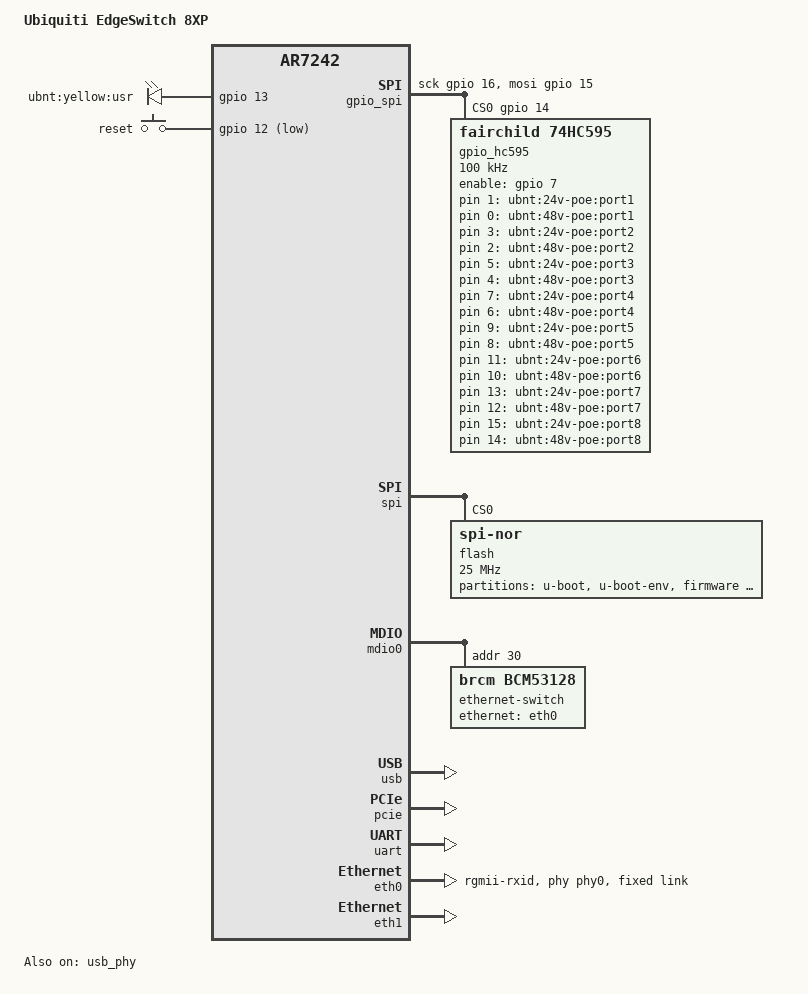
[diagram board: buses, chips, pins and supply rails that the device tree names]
// SPDX-License-Identifier: GPL-2.0-or-later OR MIT
/dts-v1/;

#include <dt-bindings/gpio/gpio.h>
#include <dt-bindings/input/input.h>

#include "ar7242.dtsi"

/ {
	compatible = "ubnt,edgeswitch-8xp", "qca,ar7242";
	model = "Ubiquiti EdgeSwitch 8XP";

	chosen {
		bootargs = "console=ttyS0,115200n8";
	};

	aliases {
		led-boot = &led_usr;
		led-failsafe = &led_usr;
		led-running = &led_usr;
		led-upgrade = &led_usr;
	};

	leds {
		compatible = "gpio-leds";

		led_usr: usr {
			label = "ubnt:yellow:usr";
			gpios = <&gpio 13 GPIO_ACTIVE_HIGH>;
		};
	};

	keys {
		compatible = "gpio-keys";

		reset {
			linux,code = <KEY_RESTART>;
			gpios = <&gpio 12 GPIO_ACTIVE_LOW>;
			debounce-interval = <60>;
		};
	};

	gpio_spi {
		compatible = "spi-gpio";
		#address-cells = <0x1>;
		ranges;

		sck-gpios = <&gpio 16 GPIO_ACTIVE_HIGH>;
		mosi-gpios = <&gpio 15 GPIO_ACTIVE_HIGH>;
		cs-gpios = <&gpio 14 GPIO_ACTIVE_HIGH>;
		num-chipselects = <1>;

		gpio_hc595: gpio_spi@0 {
			compatible = "fairchild,74hc595";
			reg = <0>;
			registers-number = <2>;
			spi-max-frequency = <100000>;
			enable-gpios = <&gpio 7 GPIO_ACTIVE_HIGH>;

			gpio-controller;
			#gpio-cells = <2>;
		};
	};
	
	gpio-export {
		compatible = "gpio-export";

		poe_24v_port1 {
			gpio-export,name = "ubnt:24v-poe:port1";
			gpio-export,output = <0>;
			gpios = <&gpio_hc595 1 GPIO_ACTIVE_HIGH>;
		};

		poe_48v_port1 {
			gpio-export,name = "ubnt:48v-poe:port1";
			gpio-export,output = <0>;
			gpios = <&gpio_hc595 0 GPIO_ACTIVE_HIGH>;
		};

		poe_24v_port2 {
			gpio-export,name = "ubnt:24v-poe:port2";
			gpio-export,output = <0>;
			gpios = <&gpio_hc595 3 GPIO_ACTIVE_HIGH>;
		};

		poe_48v_port2 {
			gpio-export,name = "ubnt:48v-poe:port2";
			gpio-export,output = <0>;
			gpios = <&gpio_hc595 2 GPIO_ACTIVE_HIGH>;
		};

		poe_24v_port3 {
			gpio-export,name = "ubnt:24v-poe:port3";
			gpio-export,output = <0>;
			gpios = <&gpio_hc595 5 GPIO_ACTIVE_HIGH>;
		};

		poe_48v_port3 {
			gpio-export,name = "ubnt:48v-poe:port3";
			gpio-export,output = <0>;
			gpios = <&gpio_hc595 4 GPIO_ACTIVE_HIGH>;
		};

		poe_24v_port4 {
			gpio-export,name = "ubnt:24v-poe:port4";
			gpio-export,output = <0>;
			gpios = <&gpio_hc595 7 GPIO_ACTIVE_HIGH>;
		};

		poe_48v_port4 {
			gpio-export,name = "ubnt:48v-poe:port4";
			gpio-export,output = <0>;
			gpios = <&gpio_hc595 6 GPIO_ACTIVE_HIGH>;
		};

		poe_24v_port5 {
			gpio-export,name = "ubnt:24v-poe:port5";
			gpio-export,output = <0>;
			gpios = <&gpio_hc595 9 GPIO_ACTIVE_HIGH>;
		};

		poe_48v_port5 {
			gpio-export,name = "ubnt:48v-poe:port5";
			gpio-export,output = <0>;
			gpios = <&gpio_hc595 8 GPIO_ACTIVE_HIGH>;
		};

		poe_24v_port6 {
			gpio-export,name = "ubnt:24v-poe:port6";
			gpio-export,output = <0>;
			gpios = <&gpio_hc595 11 GPIO_ACTIVE_HIGH>;
		};

		poe_48v_port6 {
			gpio-export,name = "ubnt:48v-poe:port6";
			gpio-export,output = <0>;
			gpios = <&gpio_hc595 10 GPIO_ACTIVE_HIGH>;
		};

		poe_24v_port7 {
			gpio-export,name = "ubnt:24v-poe:port7";
			gpio-export,output = <0>;
			gpios = <&gpio_hc595 13 GPIO_ACTIVE_HIGH>;
		};

		poe_48v_port7 {
			gpio-export,name = "ubnt:48v-poe:port7";
			gpio-export,output = <0>;
			gpios = <&gpio_hc595 12 GPIO_ACTIVE_HIGH>;
		};

		poe_24v_port8 {
			gpio-export,name = "ubnt:24v-poe:port8";
			gpio-export,output = <0>;
			gpios = <&gpio_hc595 15 GPIO_ACTIVE_HIGH>;
		};

		poe_48v_port8 {
			gpio-export,name = "ubnt:48v-poe:port8";
			gpio-export,output = <0>;
			gpios = <&gpio_hc595 14 GPIO_ACTIVE_HIGH>;
		};
	};
};

&spi {
	status = "okay";

	num-cs = <1>;

	flash@0 {
		compatible = "jedec,spi-nor";
		reg = <0>;
		spi-max-frequency = <25000000>;

		partitions {
			compatible = "fixed-partitions";
			#address-cells = <1>;
			#size-cells = <1>;

			partition@0 {
				reg = <0x000000 0x040000>;
				label = "u-boot";
				read-only;
			};

			partition@40000 {
				reg = <0x040000 0x010000>;
				label = "u-boot-env";
				read-only;
			};

			partition@50000 {
				compatible = "denx,uimage";
				reg = <0x050000 0x760000>;
				label = "firmware";
			};

			partition@7b0000 {
				reg = <0x7b0000 0x040000>;
				label = "cfg";
				read-only;
			};

			art: partition@7f0000 {
				reg = <0x7f0000 0x010000>;
				label = "art";
				read-only;
			};
		};
	};
};

&mdio0 {
	status = "okay";

	phy-mask = <0x10>;

	ethernet-switch@1e {
		compatible = "brcm,bcm53128";
		#address-cells = <1>;
		#size-cells = <0>;
		reg = <0x1e>;

		ports {
			port0@0 {
				reg = <0>;
				label = "lan1";
			};

			port1@1 {
				reg = <1>;
				label = "lan2";
			};

			port2@2 {
				reg = <2>;
				label = "lan3";
			};

			port3@3 {
				reg = <3>;
				label = "lan4";
			};

			port4@4 {
				reg = <4>;
				label = "lan5";
			};

			port5@5 {
				reg = <5>;
				label = "lan6";
			};

			port6@6 {
				reg = <6>;
				label = "lan7";
			};

			port7@7 {
				reg = <7>;
				label = "lan8";
			};

			phy0: port8@8 {
				reg = <8>;
				label = "cpu";
				ethernet = <&eth0>;

				fixed-link {
					speed = <1000>;
					full-duplex;
				};
			};

		};
	};
};

&usb_phy {
	status = "okay";
};

&usb {
	#address-cells = <1>;
	#size-cells = <0>;
	status = "okay";

	hub_port: port@1 {
		reg = <1>;
		#trigger-source-cells = <0>;
	};
};

&pcie {
	status = "okay";
};

&uart {
	status = "okay";
};

&eth0 {
	status = "okay";

	phy-mode = "rgmii-rxid";
	pll-data = <0x16000000 0x00000101 0x00001313>;
	mtd-mac-address = <&art 0x0>;

	phy-handle = <&phy0>;
	fixed-link {
		speed = <1000>;
		full-duplex;
	};
};

&eth1 {
	status = "okay";

	mtd-mac-address = <&art 0x6>;
};
